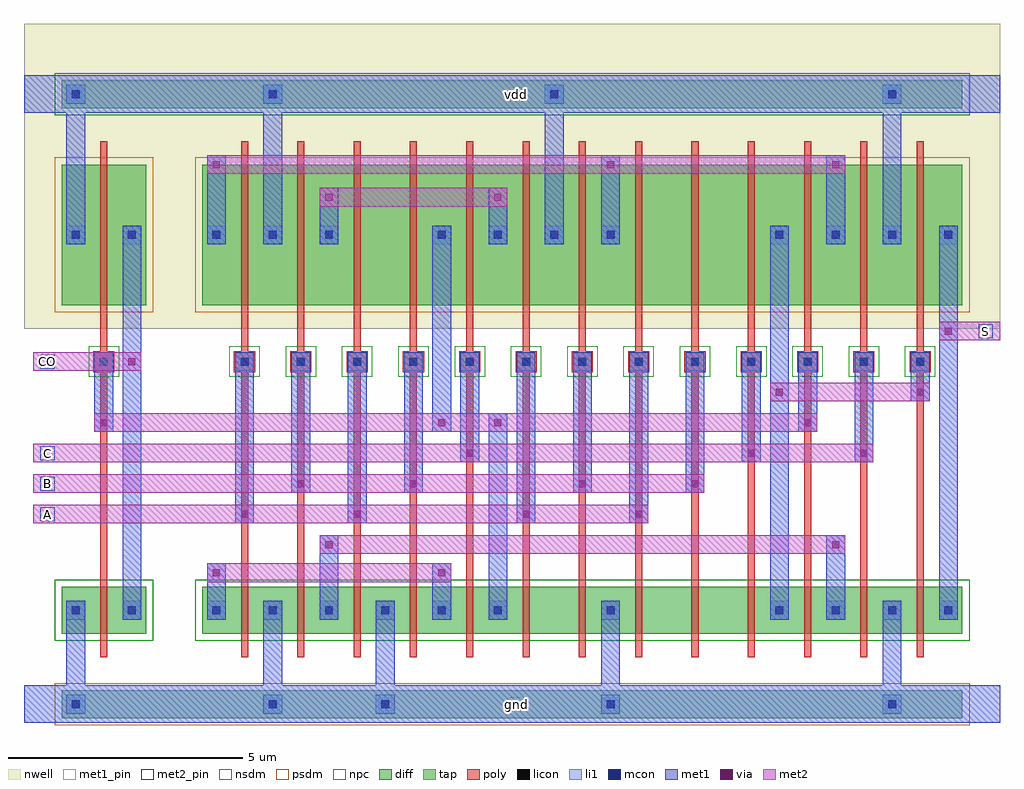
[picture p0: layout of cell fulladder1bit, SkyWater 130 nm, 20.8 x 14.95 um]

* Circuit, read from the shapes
.subckt fulladder1bit A B C CO S gnd vdd
XM1 CO n1 gnd gnd sky130_fd_pr__nfet_01v8 w=1 l=0.15
XM2 gnd A n2 gnd sky130_fd_pr__nfet_01v8 w=1 l=0.15
XM3 n3 B gnd gnd sky130_fd_pr__nfet_01v8 w=1 l=0.15
XM4 gnd A n3 gnd sky130_fd_pr__nfet_01v8 w=1 l=0.15
XM5 n2 B gnd gnd sky130_fd_pr__nfet_01v8 w=1 l=0.15
XM6 n1 C n2 gnd sky130_fd_pr__nfet_01v8 w=1 l=0.15
XM7 n4 A n1 gnd sky130_fd_pr__nfet_01v8 w=1 l=0.15
XM8 gnd B n4 gnd sky130_fd_pr__nfet_01v8 w=1 l=0.15
XM9 n5 A gnd gnd sky130_fd_pr__nfet_01v8 w=1 l=0.15
XM10 n6 B n5 gnd sky130_fd_pr__nfet_01v8 w=1 l=0.15
XM11 n7 C n6 gnd sky130_fd_pr__nfet_01v8 w=1 l=0.15
XM12 n3 n1 n7 gnd sky130_fd_pr__nfet_01v8 w=1 l=0.15
XM13 gnd C n3 gnd sky130_fd_pr__nfet_01v8 w=1 l=0.15
XM14 S n7 gnd gnd sky130_fd_pr__nfet_01v8 w=1 l=0.15
XM15 CO n1 vdd vdd sky130_fd_pr__pfet_01v8 w=3 l=0.15
XM16 vdd A n8 vdd sky130_fd_pr__pfet_01v8 w=3 l=0.15
XM17 n9 B vdd vdd sky130_fd_pr__pfet_01v8 w=3 l=0.15
XM18 n10 A n9 vdd sky130_fd_pr__pfet_01v8 w=3 l=0.15
XM19 n1 B n10 vdd sky130_fd_pr__pfet_01v8 w=3 l=0.15
XM20 n9 C n1 vdd sky130_fd_pr__pfet_01v8 w=3 l=0.15
XM21 vdd A n9 vdd sky130_fd_pr__pfet_01v8 w=3 l=0.15
XM22 n8 B vdd vdd sky130_fd_pr__pfet_01v8 w=3 l=0.15
XM23 n11 A n8 vdd sky130_fd_pr__pfet_01v8 w=3 l=0.15
XM24 n12 B n11 vdd sky130_fd_pr__pfet_01v8 w=3 l=0.15
XM25 n7 C n12 vdd sky130_fd_pr__pfet_01v8 w=3 l=0.15
XM26 n8 n1 n7 vdd sky130_fd_pr__pfet_01v8 w=3 l=0.15
XM27 vdd C n8 vdd sky130_fd_pr__pfet_01v8 w=3 l=0.15
XM28 S n7 vdd vdd sky130_fd_pr__pfet_01v8 w=3 l=0.15
.ends

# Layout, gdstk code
import gdstk
lib = gdstk.Library(unit=1e-6, precision=1e-09)
def R(c, l, rs):  # rectangles x0, y0, x1, y1
    for r in rs: c.add(gdstk.rectangle(r[:2], r[2:], *l))
def A(c, l, x, y, w, h, nx, ny, dx, dy):  # array of equal rectangles
    R(c, l, [(x+i*dx, y+j*dy, x+i*dx+w, y+j*dy+h) for i in range(nx) for j in range(ny)])
nwell = (64, 20)
diff = (65, 20)
tap = (65, 44)
poly = (66, 20)
licon = (66, 44)
li1 = (67, 20)
mcon = (67, 44)
met1_pin = (68, 16)
met1 = (68, 20)
via = (68, 44)
met2_pin = (69, 16)
met2 = (69, 20)
nsdm = (93, 44)
psdm = (94, 20)
npc = (95, 20)

fulladder1bit = lib.new_cell('fulladder1bit')
R(fulladder1bit, nwell, [(-0.5,8.5,20.3,15)])
R(fulladder1bit, diff, [(0.3,2,2.1,3), (3.3,2,19.5,3), (0.3,9,2.1,12), (3.3,9,19.5,12)])
R(fulladder1bit, tap, [(0.3,0.2,19.5,0.8), (0.3,13.2,19.5,13.8)])
A(fulladder1bit, poly, 4.125, 1.5, 0.15, 11, 13, 1, 1.2, 0)
A(fulladder1bit, poly, 3.975, 7.575, 0.45, 0.45, 13, 1, 1.2, 0)
R(fulladder1bit, poly, [(1.125,1.5,1.275,12.5), (0.975,7.575,1.425,8.025)])
A(fulladder1bit, licon, 3.515, 2.415, 0.17, 0.17, 3, 2, 1.2, 8)
A(fulladder1bit, licon, 5.915, 2.415, 0.17, 0.17, 4, 1, 1.2, 0)
A(fulladder1bit, licon, 15.515, 2.415, 0.17, 0.17, 4, 2, 1.2, 8)
A(fulladder1bit, licon, 4.115, 7.715, 0.17, 0.17, 13, 1, 1.2, 0)
A(fulladder1bit, licon, 8.315, 10.415, 0.17, 0.17, 4, 1, 1.2, 0)
R(fulladder1bit, licon, [(0.515,0.415,0.685,0.585), (4.715,0.415,4.885,0.585), (7.115,0.415,7.285,0.585), (11.915,0.415,12.085,0.585), (17.915,0.415,18.085,0.585), (0.515,2.415,0.685,2.585), (1.715,2.415,1.885,2.585), (11.915,2.415,12.085,2.585), (1.115,7.715,1.285,7.885), (0.515,10.415,0.685,10.585), (1.715,10.415,1.885,10.585), (0.515,13.415,0.685,13.585), (4.715,13.415,4.885,13.585), (10.715,13.415,10.885,13.585), (17.915,13.415,18.085,13.585)])
A(fulladder1bit, li1, 3.4, 2.3, 0.4, 0.4, 3, 2, 1.2, 8)
A(fulladder1bit, li1, 5.8, 2.3, 0.4, 0.4, 4, 1, 1.2, 0)
A(fulladder1bit, li1, 15.4, 2.3, 0.4, 0.4, 4, 2, 1.2, 8)
A(fulladder1bit, li1, 4, 7.6, 0.4, 0.4, 13, 1, 1.2, 0)
A(fulladder1bit, li1, 8.2, 10.3, 0.4, 0.4, 4, 1, 1.2, 0)
R(fulladder1bit, li1, [(0.4,0.3,0.8,0.7), (4.6,0.3,5,0.7), (7,0.3,7.4,0.7), (11.8,0.3,12.2,0.7), (17.8,0.3,18.2,0.7), (0.4,2.3,0.8,2.7), (1.6,2.3,2,2.7), (11.8,2.3,12.2,2.7), (1,7.6,1.4,8), (0.4,10.3,0.8,10.7), (1.6,10.3,2,10.7), (0.4,13.3,0.8,13.7), (4.6,13.3,5,13.7), (10.6,13.3,11,13.7), (17.8,13.3,18.2,13.7)])
A(fulladder1bit, mcon, 3.515, 2.415, 0.17, 0.17, 3, 2, 1.2, 8)
A(fulladder1bit, mcon, 5.915, 2.415, 0.17, 0.17, 4, 1, 1.2, 0)
A(fulladder1bit, mcon, 15.515, 2.415, 0.17, 0.17, 4, 2, 1.2, 8)
A(fulladder1bit, mcon, 4.115, 7.715, 0.17, 0.17, 13, 1, 1.2, 0)
A(fulladder1bit, mcon, 8.315, 10.415, 0.17, 0.17, 4, 1, 1.2, 0)
R(fulladder1bit, mcon, [(0.515,0.415,0.685,0.585), (4.715,0.415,4.885,0.585), (7.115,0.415,7.285,0.585), (11.915,0.415,12.085,0.585), (17.915,0.415,18.085,0.585), (0.515,2.415,0.685,2.585), (1.715,2.415,1.885,2.585), (11.915,2.415,12.085,2.585), (1.115,7.715,1.285,7.885), (0.515,10.415,0.685,10.585), (1.715,10.415,1.885,10.585), (0.515,13.415,0.685,13.585), (4.715,13.415,4.885,13.585), (10.715,13.415,10.885,13.585), (17.915,13.415,18.085,13.585)])
R(fulladder1bit, met1_pin, [(9.85,0.35,10.15,0.65), (9.85,13.35,10.15,13.65)])
A(fulladder1bit, met1, 3.4, 2.3, 0.4, 0.4, 3, 2, 1.2, 8)
A(fulladder1bit, met1, 5.8, 2.3, 0.4, 0.4, 4, 1, 1.2, 0)
A(fulladder1bit, met1, 15.4, 2.3, 0.4, 0.4, 4, 2, 1.2, 8)
A(fulladder1bit, met1, 4, 7.6, 0.4, 0.4, 13, 1, 1.2, 0)
A(fulladder1bit, met1, 8.2, 10.3, 0.4, 0.4, 4, 1, 1.2, 0)
R(fulladder1bit, met1, [(-0.5,0.1,20.3,0.9), (0.4,0.3,0.8,0.7), (0.4,0.3,0.8,2.7), (4.6,0.3,5,0.7), (4.6,0.3,5,2.7), (7,0.3,7.4,0.7), (7,0.3,7.4,2.7), (11.8,0.3,12.2,0.7), (11.8,0.3,12.2,2.7), (17.8,0.3,18.2,0.7), (17.8,0.3,18.2,2.7), (0.4,2.3,0.8,2.7), (1.6,2.3,2,2.7), (1.6,2.3,2,10.7), (3.4,2.3,3.8,3.5), (5.8,2.3,6.2,4.1), (8.2,2.3,8.6,3.5), (9.4,2.3,9.8,6.7), (11.8,2.3,12.2,2.7), (15.4,2.3,15.8,10.7), (16.6,2.3,17,4.1), (19,2.3,19.4,10.7), (4,4.35,4.4,8), (6.4,4.35,6.8,8), (10,4.35,10.4,8), (12.4,4.35,12.8,8), (5.2,5,5.6,8), (7.6,5,8,8), (11.2,5,11.6,8), (13.6,5,14,8), (8.8,5.65,9.2,8), (14.8,5.65,15.2,8), (17.2,5.65,17.6,8), (1,6.3,1.4,8), (8.2,6.3,8.6,10.7), (16,6.3,16.4,8), (18.4,6.95,18.8,8), (1,7.6,1.4,8), (0.4,10.3,0.8,10.7), (0.4,10.3,0.8,13.7), (1.6,10.3,2,10.7), (3.4,10.3,3.8,12.2), (4.6,10.3,5,13.7), (5.8,10.3,6.2,11.5), (9.4,10.3,9.8,11.5), (10.6,10.3,11,13.7), (11.8,10.3,12.2,12.2), (16.6,10.3,17,12.2), (17.8,10.3,18.2,13.7), (-0.5,13.1,20.3,13.9), (0.4,13.3,0.8,13.7), (4.6,13.3,5,13.7), (10.6,13.3,11,13.7), (17.8,13.3,18.2,13.7)])
R(fulladder1bit, via, [(3.525,3.225,3.675,3.375), (8.325,3.225,8.475,3.375), (5.925,3.825,6.075,3.975), (16.725,3.825,16.875,3.975), (4.125,4.475,4.275,4.625), (6.525,4.475,6.675,4.625), (10.125,4.475,10.275,4.625), (12.525,4.475,12.675,4.625), (5.325,5.125,5.475,5.275), (7.725,5.125,7.875,5.275), (11.325,5.125,11.475,5.275), (13.725,5.125,13.875,5.275), (8.925,5.775,9.075,5.925), (14.925,5.775,15.075,5.925), (17.325,5.775,17.475,5.925), (1.125,6.425,1.275,6.575), (8.325,6.425,8.475,6.575), (9.525,6.425,9.675,6.575), (16.125,6.425,16.275,6.575), (15.525,7.075,15.675,7.225), (18.525,7.075,18.675,7.225), (1.725,7.725,1.875,7.875), (19.125,8.375,19.275,8.525), (5.925,11.225,6.075,11.375), (9.525,11.225,9.675,11.375), (3.525,11.925,3.675,12.075), (11.925,11.925,12.075,12.075), (16.725,11.925,16.875,12.075)])
A(fulladder1bit, met2_pin, -0.15, 4.4, 0.3, 0.3, 1, 3, 0, 0.65)
R(fulladder1bit, met2_pin, [(-0.15,7.65,0.15,7.95), (19.85,8.3,20.15,8.6)])
R(fulladder1bit, met2, [(3.4,3.1,8.6,3.5), (5.8,3.7,17,4.1), (-0.3,4.35,12.8,4.75), (-0.3,5,14,5.4), (-0.3,5.65,17.6,6.05), (1,6.3,16.4,6.7), (15.4,6.95,18.8,7.35), (-0.3,7.6,2,8), (19,8.25,20.3,8.65), (5.8,11.1,9.8,11.5), (3.4,11.8,17,12.2)])
R(fulladder1bit, nsdm, [(0.15,1.85,2.25,3.15), (3.15,1.85,19.65,3.15), (0.15,13.05,19.65,13.95)])
R(fulladder1bit, psdm, [(0.15,0.05,19.65,0.95), (0.15,8.85,2.25,12.15), (3.15,8.85,19.65,12.15)])
A(fulladder1bit, npc, 3.875, 7.475, 0.65, 0.65, 13, 1, 1.2, 0)
R(fulladder1bit, npc, [(0.875,7.475,1.525,8.125)])
fulladder1bit.add(gdstk.Label('A', (0,4.55), layer=69, texttype=5))
fulladder1bit.add(gdstk.Label('B', (0,5.2), layer=69, texttype=5))
fulladder1bit.add(gdstk.Label('C', (0.005,5.85), layer=69, texttype=5))
fulladder1bit.add(gdstk.Label('CO', (0,7.8), layer=69, texttype=5))
fulladder1bit.add(gdstk.Label('S', (20,8.45), layer=69, texttype=5))
fulladder1bit.add(gdstk.Label('vdd', (10,13.5), layer=68, texttype=5))
fulladder1bit.add(gdstk.Label('gnd', (10,0.5), layer=68, texttype=5))

lib.write_gds('fulladder1bit.gds')
